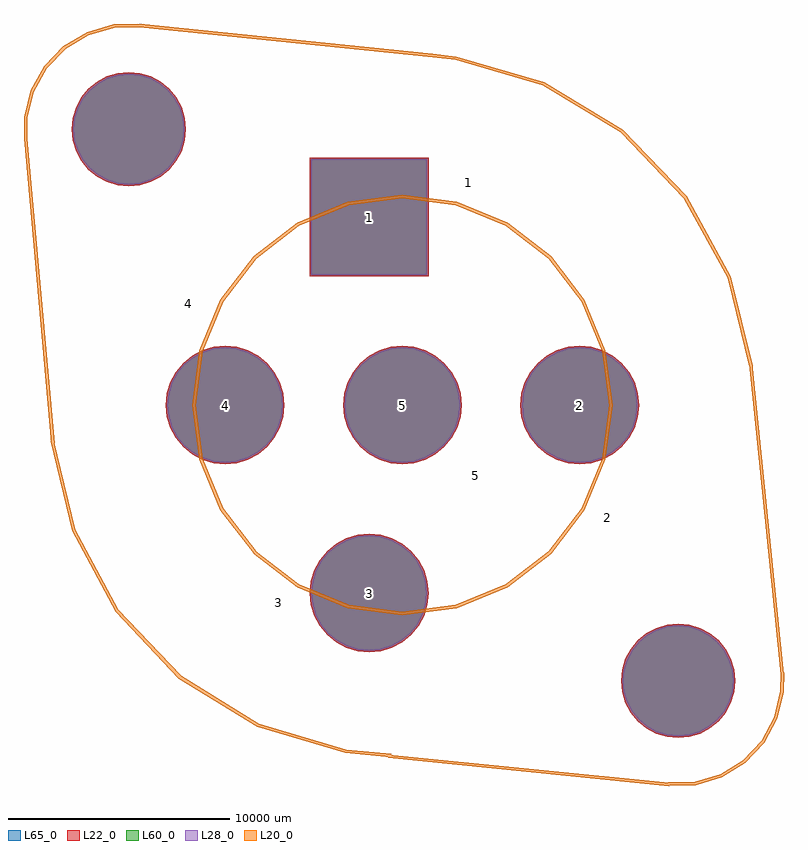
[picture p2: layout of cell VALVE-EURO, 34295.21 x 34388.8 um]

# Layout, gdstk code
import gdstk
lib = gdstk.Library(unit=1e-6, precision=1e-09)
def R(c, l, rs):  # rectangles x0, y0, x1, y1
    for r in rs: c.add(gdstk.rectangle(r[:2], r[2:], *l))
def P(c, l, *ps):  # polygons
    for p in ps: c.add(gdstk.Polygon(p, *l))
L20_0 = (20, 0)
L22_0 = (22, 0)
L28_0 = (28, 0)
L60_0 = (60, 0)
L65_0 = (65, 0)

valve_euro = lib.new_cell('VALVE-EURO')
R(valve_euro, L22_0, [(-4177.1,5805.1,1179.9,11162.1)])
P(valve_euro, L22_0, [(-9768.77,12446),(-9818.26,12948.48),(-9964.828,13431.651),(-10202.842,13876.943),(-10523.155,14267.245),(-10913.457,14587.558),(-11358.749,14825.572),(-11841.92,14972.14),(-12344.4,15021.63),(-12846.88,14972.14),(-13330.051,14825.572),(-13775.343,14587.558),(-14165.645,14267.245),(-14485.958,13876.943),(-14723.972,13431.651),(-14870.54,12948.48),(-14920.03,12446),(-14870.54,11943.52),(-14723.972,11460.349),(-14485.958,11015.057),(-14165.645,10624.755),(-13775.343,10304.442),(-13330.051,10066.428),(-12846.88,9919.86),(-12344.4,9870.37),(-11841.92,9919.86),(-11358.749,10066.428),(-10913.457,10304.442),(-10523.155,10624.755),(-10202.842,11015.057),(-9964.828,11460.349),(-9818.26,11943.52)],
  [(15021.63,-12446),(14972.14,-11943.52),(14825.572,-11460.349),(14587.558,-11015.057),(14267.245,-10624.755),(13876.943,-10304.442),(13431.651,-10066.428),(12948.48,-9919.86),(12446,-9870.37),(11943.52,-9919.86),(11460.349,-10066.428),(11015.057,-10304.442),(10624.755,-10624.755),(10304.442,-11015.057),(10066.428,-11460.349),(9919.86,-11943.52),(9870.37,-12446),(9919.86,-12948.48),(10066.428,-13431.651),(10304.442,-13876.943),(10624.755,-14267.245),(11015.057,-14587.558),(11460.349,-14825.572),(11943.52,-14972.14),(12446,-15021.63),(12948.48,-14972.14),(13431.651,-14825.572),(13876.943,-14587.558),(14267.245,-14267.245),(14587.558,-13876.943),(14825.572,-13431.651),(14972.14,-12948.48)],
  [(2678.5,0),(2627.033,522.549),(2474.611,1025.018),(2227.091,1488.095),(1893.986,1893.986),(1488.095,2227.091),(1025.018,2474.611),(522.549,2627.033),(0,2678.5),(-522.549,2627.033),(-1025.018,2474.611),(-1488.095,2227.091),(-1893.986,1893.986),(-2227.091,1488.095),(-2474.611,1025.018),(-2627.033,522.549),(-2678.5,0),(-2627.033,-522.549),(-2474.611,-1025.018),(-2227.091,-1488.095),(-1893.986,-1893.986),(-1488.095,-2227.091),(-1025.018,-2474.611),(-522.549,-2627.033),(0,-2678.5),(522.549,-2627.033),(1025.018,-2474.611),(1488.095,-2227.091),(1893.986,-1893.986),(2227.091,-1488.095),(2474.611,-1025.018),(2627.033,-522.549)],
  [(-5322.5,0),(-5373.967,522.549),(-5526.389,1025.018),(-5773.909,1488.095),(-6107.014,1893.986),(-6512.905,2227.091),(-6975.982,2474.611),(-7478.451,2627.033),(-8001,2678.5),(-8523.549,2627.033),(-9026.018,2474.611),(-9489.095,2227.091),(-9894.986,1893.986),(-10228.091,1488.095),(-10475.611,1025.018),(-10628.033,522.549),(-10679.5,0),(-10628.033,-522.549),(-10475.611,-1025.018),(-10228.091,-1488.095),(-9894.986,-1893.986),(-9489.095,-2227.091),(-9026.018,-2474.611),(-8523.549,-2627.033),(-8001,-2678.5),(-7478.451,-2627.033),(-6975.982,-2474.611),(-6512.905,-2227.091),(-6107.014,-1893.986),(-5773.909,-1488.095),(-5526.389,-1025.018),(-5373.967,-522.549)],
  [(1179.9,-8483.6),(1128.433,-7961.051),(976.011,-7458.582),(728.491,-6995.505),(395.386,-6589.614),(-10.505,-6256.509),(-473.582,-6008.989),(-976.051,-5856.567),(-1498.6,-5805.1),(-2021.149,-5856.567),(-2523.618,-6008.989),(-2986.695,-6256.509),(-3392.586,-6589.614),(-3725.691,-6995.505),(-3973.211,-7458.582),(-4125.633,-7961.051),(-4177.1,-8483.6),(-4125.633,-9006.149),(-3973.211,-9508.618),(-3725.691,-9971.695),(-3392.586,-10377.586),(-2986.695,-10710.691),(-2523.618,-10958.211),(-2021.149,-11110.633),(-1498.6,-11162.1),(-976.051,-11110.633),(-473.582,-10958.211),(-10.505,-10710.691),(395.386,-10377.586),(728.491,-9971.695),(976.011,-9508.618),(1128.433,-9006.149)],
  [(10679.5,0),(10628.033,522.549),(10475.611,1025.018),(10228.091,1488.095),(9894.986,1893.986),(9489.095,2227.091),(9026.018,2474.611),(8523.549,2627.033),(8001,2678.5),(7478.451,2627.033),(6975.982,2474.611),(6512.905,2227.091),(6107.014,1893.986),(5773.909,1488.095),(5526.389,1025.018),(5373.967,522.549),(5322.5,0),(5373.967,-522.549),(5526.389,-1025.018),(5773.909,-1488.095),(6107.014,-1893.986),(6512.905,-2227.091),(6975.982,-2474.611),(7478.451,-2627.033),(8001,-2678.5),(8523.549,-2627.033),(9026.018,-2474.611),(9489.095,-2227.091),(9894.986,-1893.986),(10228.091,-1488.095),(10475.611,-1025.018),(10628.033,-522.549)])
R(valve_euro, L28_0, [(-4102.1,5880.1,1104.9,11087.1)])
P(valve_euro, L28_0, [(-9843.77,12446),(-9891.819,12933.849),(-10034.119,13402.95),(-10265.202,13835.276),(-10576.188,14214.212),(-10955.124,14525.198),(-11387.45,14756.281),(-11856.551,14898.581),(-12344.4,14946.63),(-12832.249,14898.581),(-13301.35,14756.281),(-13733.676,14525.198),(-14112.612,14214.212),(-14423.598,13835.276),(-14654.681,13402.95),(-14796.981,12933.849),(-14845.03,12446),(-14796.981,11958.151),(-14654.681,11489.05),(-14423.598,11056.724),(-14112.612,10677.788),(-13733.676,10366.802),(-13301.35,10135.719),(-12832.249,9993.419),(-12344.4,9945.37),(-11856.551,9993.419),(-11387.45,10135.719),(-10955.124,10366.802),(-10576.188,10677.788),(-10265.202,11056.724),(-10034.119,11489.05),(-9891.819,11958.151)],
  [(14946.63,-12446),(14898.581,-11958.151),(14756.281,-11489.05),(14525.198,-11056.724),(14214.212,-10677.788),(13835.276,-10366.802),(13402.95,-10135.719),(12933.849,-9993.419),(12446,-9945.37),(11958.151,-9993.419),(11489.05,-10135.719),(11056.724,-10366.802),(10677.788,-10677.788),(10366.802,-11056.724),(10135.719,-11489.05),(9993.419,-11958.151),(9945.37,-12446),(9993.419,-12933.849),(10135.719,-13402.95),(10366.802,-13835.276),(10677.788,-14214.212),(11056.724,-14525.198),(11489.05,-14756.281),(11958.151,-14898.581),(12446,-14946.63),(12933.849,-14898.581),(13402.95,-14756.281),(13835.276,-14525.198),(14214.212,-14214.212),(14525.198,-13835.276),(14756.281,-13402.95),(14898.581,-12933.849)],
  [(2603.5,0),(2553.474,507.918),(2405.32,996.316),(2164.731,1446.427),(1840.953,1840.953),(1446.427,2164.731),(996.316,2405.32),(507.918,2553.474),(0,2603.5),(-507.918,2553.474),(-996.316,2405.32),(-1446.427,2164.731),(-1840.953,1840.953),(-2164.731,1446.427),(-2405.32,996.316),(-2553.474,507.918),(-2603.5,0),(-2553.474,-507.918),(-2405.32,-996.316),(-2164.731,-1446.427),(-1840.953,-1840.953),(-1446.427,-2164.731),(-996.316,-2405.32),(-507.918,-2553.474),(0,-2603.5),(507.918,-2553.474),(996.316,-2405.32),(1446.427,-2164.731),(1840.953,-1840.953),(2164.731,-1446.427),(2405.32,-996.316),(2553.474,-507.918)],
  [(-5397.5,0),(-5447.526,507.918),(-5595.68,996.316),(-5836.269,1446.427),(-6160.047,1840.953),(-6554.573,2164.731),(-7004.684,2405.32),(-7493.082,2553.474),(-8001,2603.5),(-8508.918,2553.474),(-8997.316,2405.32),(-9447.427,2164.731),(-9841.953,1840.953),(-10165.731,1446.427),(-10406.32,996.316),(-10554.474,507.918),(-10604.5,0),(-10554.474,-507.918),(-10406.32,-996.316),(-10165.731,-1446.427),(-9841.953,-1840.953),(-9447.427,-2164.731),(-8997.316,-2405.32),(-8508.918,-2553.474),(-8001,-2603.5),(-7493.082,-2553.474),(-7004.684,-2405.32),(-6554.573,-2164.731),(-6160.047,-1840.953),(-5836.269,-1446.427),(-5595.68,-996.316),(-5447.526,-507.918)],
  [(1104.9,-8483.6),(1054.874,-7975.682),(906.72,-7487.284),(666.131,-7037.173),(342.353,-6642.647),(-52.173,-6318.869),(-502.284,-6078.28),(-990.682,-5930.126),(-1498.6,-5880.1),(-2006.518,-5930.126),(-2494.916,-6078.28),(-2945.027,-6318.869),(-3339.553,-6642.647),(-3663.331,-7037.173),(-3903.92,-7487.284),(-4052.074,-7975.682),(-4102.1,-8483.6),(-4052.074,-8991.518),(-3903.92,-9479.916),(-3663.331,-9930.027),(-3339.553,-10324.553),(-2945.027,-10648.331),(-2494.916,-10888.92),(-2006.518,-11037.074),(-1498.6,-11087.1),(-990.682,-11037.074),(-502.284,-10888.92),(-52.173,-10648.331),(342.353,-10324.553),(666.131,-9930.027),(906.72,-9479.916),(1054.874,-8991.518)],
  [(10604.5,0),(10554.474,507.918),(10406.32,996.316),(10165.731,1446.427),(9841.953,1840.953),(9447.427,2164.731),(8997.316,2405.32),(8508.918,2553.474),(8001,2603.5),(7493.082,2553.474),(7004.684,2405.32),(6554.573,2164.731),(6160.047,1840.953),(5836.269,1446.427),(5595.68,996.316),(5447.526,507.918),(5397.5,0),(5447.526,-507.918),(5595.68,-996.316),(5836.269,-1446.427),(6160.047,-1840.953),(6554.573,-2164.731),(7004.684,-2405.32),(7493.082,-2553.474),(8001,-2603.5),(8508.918,-2553.474),(8997.316,-2405.32),(9447.427,-2164.731),(9841.953,-1840.953),(10165.731,-1446.427),(10406.32,-996.316),(10554.474,-507.918)])
R(valve_euro, L60_0, [(-4102.1,5880.1,1104.9,11087.1)])
P(valve_euro, L60_0, [(-9843.77,12446),(-9891.819,12933.849),(-10034.119,13402.95),(-10265.202,13835.276),(-10576.188,14214.212),(-10955.124,14525.198),(-11387.45,14756.281),(-11856.551,14898.581),(-12344.4,14946.63),(-12832.249,14898.581),(-13301.35,14756.281),(-13733.676,14525.198),(-14112.612,14214.212),(-14423.598,13835.276),(-14654.681,13402.95),(-14796.981,12933.849),(-14845.03,12446),(-14796.981,11958.151),(-14654.681,11489.05),(-14423.598,11056.724),(-14112.612,10677.788),(-13733.676,10366.802),(-13301.35,10135.719),(-12832.249,9993.419),(-12344.4,9945.37),(-11856.551,9993.419),(-11387.45,10135.719),(-10955.124,10366.802),(-10576.188,10677.788),(-10265.202,11056.724),(-10034.119,11489.05),(-9891.819,11958.151)],
  [(14946.63,-12446),(14898.581,-11958.151),(14756.281,-11489.05),(14525.198,-11056.724),(14214.212,-10677.788),(13835.276,-10366.802),(13402.95,-10135.719),(12933.849,-9993.419),(12446,-9945.37),(11958.151,-9993.419),(11489.05,-10135.719),(11056.724,-10366.802),(10677.788,-10677.788),(10366.802,-11056.724),(10135.719,-11489.05),(9993.419,-11958.151),(9945.37,-12446),(9993.419,-12933.849),(10135.719,-13402.95),(10366.802,-13835.276),(10677.788,-14214.212),(11056.724,-14525.198),(11489.05,-14756.281),(11958.151,-14898.581),(12446,-14946.63),(12933.849,-14898.581),(13402.95,-14756.281),(13835.276,-14525.198),(14214.212,-14214.212),(14525.198,-13835.276),(14756.281,-13402.95),(14898.581,-12933.849)],
  [(2603.5,0),(2553.474,507.918),(2405.32,996.316),(2164.731,1446.427),(1840.953,1840.953),(1446.427,2164.731),(996.316,2405.32),(507.918,2553.474),(0,2603.5),(-507.918,2553.474),(-996.316,2405.32),(-1446.427,2164.731),(-1840.953,1840.953),(-2164.731,1446.427),(-2405.32,996.316),(-2553.474,507.918),(-2603.5,0),(-2553.474,-507.918),(-2405.32,-996.316),(-2164.731,-1446.427),(-1840.953,-1840.953),(-1446.427,-2164.731),(-996.316,-2405.32),(-507.918,-2553.474),(0,-2603.5),(507.918,-2553.474),(996.316,-2405.32),(1446.427,-2164.731),(1840.953,-1840.953),(2164.731,-1446.427),(2405.32,-996.316),(2553.474,-507.918)],
  [(-5397.5,0),(-5447.526,507.918),(-5595.68,996.316),(-5836.269,1446.427),(-6160.047,1840.953),(-6554.573,2164.731),(-7004.684,2405.32),(-7493.082,2553.474),(-8001,2603.5),(-8508.918,2553.474),(-8997.316,2405.32),(-9447.427,2164.731),(-9841.953,1840.953),(-10165.731,1446.427),(-10406.32,996.316),(-10554.474,507.918),(-10604.5,0),(-10554.474,-507.918),(-10406.32,-996.316),(-10165.731,-1446.427),(-9841.953,-1840.953),(-9447.427,-2164.731),(-8997.316,-2405.32),(-8508.918,-2553.474),(-8001,-2603.5),(-7493.082,-2553.474),(-7004.684,-2405.32),(-6554.573,-2164.731),(-6160.047,-1840.953),(-5836.269,-1446.427),(-5595.68,-996.316),(-5447.526,-507.918)],
  [(1104.9,-8483.6),(1054.874,-7975.682),(906.72,-7487.284),(666.131,-7037.173),(342.353,-6642.647),(-52.173,-6318.869),(-502.284,-6078.28),(-990.682,-5930.126),(-1498.6,-5880.1),(-2006.518,-5930.126),(-2494.916,-6078.28),(-2945.027,-6318.869),(-3339.553,-6642.647),(-3663.331,-7037.173),(-3903.92,-7487.284),(-4052.074,-7975.682),(-4102.1,-8483.6),(-4052.074,-8991.518),(-3903.92,-9479.916),(-3663.331,-9930.027),(-3339.553,-10324.553),(-2945.027,-10648.331),(-2494.916,-10888.92),(-2006.518,-11037.074),(-1498.6,-11087.1),(-990.682,-11037.074),(-502.284,-10888.92),(-52.173,-10648.331),(342.353,-10324.553),(666.131,-9930.027),(906.72,-9479.916),(1054.874,-8991.518)],
  [(10604.5,0),(10554.474,507.918),(10406.32,996.316),(10165.731,1446.427),(9841.953,1840.953),(9447.427,2164.731),(8997.316,2405.32),(8508.918,2553.474),(8001,2603.5),(7493.082,2553.474),(7004.684,2405.32),(6554.573,2164.731),(6160.047,1840.953),(5836.269,1446.427),(5595.68,996.316),(5447.526,507.918),(5397.5,0),(5447.526,-507.918),(5595.68,-996.316),(5836.269,-1446.427),(6160.047,-1840.953),(6554.573,-2164.731),(7004.684,-2405.32),(7493.082,-2553.474),(8001,-2603.5),(8508.918,-2553.474),(8997.316,-2405.32),(9447.427,-2164.731),(9841.953,-1840.953),(10165.731,-1446.427),(10406.32,-996.316),(10554.474,-507.918)])
R(valve_euro, L65_0, [(-4177.1,5805.1,1179.9,11162.1)])
P(valve_euro, L65_0, [(-9768.77,12446),(-9818.26,12948.48),(-9964.828,13431.651),(-10202.842,13876.943),(-10523.155,14267.245),(-10913.457,14587.558),(-11358.749,14825.572),(-11841.92,14972.14),(-12344.4,15021.63),(-12846.88,14972.14),(-13330.051,14825.572),(-13775.343,14587.558),(-14165.645,14267.245),(-14485.958,13876.943),(-14723.972,13431.651),(-14870.54,12948.48),(-14920.03,12446),(-14870.54,11943.52),(-14723.972,11460.349),(-14485.958,11015.057),(-14165.645,10624.755),(-13775.343,10304.442),(-13330.051,10066.428),(-12846.88,9919.86),(-12344.4,9870.37),(-11841.92,9919.86),(-11358.749,10066.428),(-10913.457,10304.442),(-10523.155,10624.755),(-10202.842,11015.057),(-9964.828,11460.349),(-9818.26,11943.52)],
  [(15021.63,-12446),(14972.14,-11943.52),(14825.572,-11460.349),(14587.558,-11015.057),(14267.245,-10624.755),(13876.943,-10304.442),(13431.651,-10066.428),(12948.48,-9919.86),(12446,-9870.37),(11943.52,-9919.86),(11460.349,-10066.428),(11015.057,-10304.442),(10624.755,-10624.755),(10304.442,-11015.057),(10066.428,-11460.349),(9919.86,-11943.52),(9870.37,-12446),(9919.86,-12948.48),(10066.428,-13431.651),(10304.442,-13876.943),(10624.755,-14267.245),(11015.057,-14587.558),(11460.349,-14825.572),(11943.52,-14972.14),(12446,-15021.63),(12948.48,-14972.14),(13431.651,-14825.572),(13876.943,-14587.558),(14267.245,-14267.245),(14587.558,-13876.943),(14825.572,-13431.651),(14972.14,-12948.48)],
  [(2678.5,0),(2627.033,522.549),(2474.611,1025.018),(2227.091,1488.095),(1893.986,1893.986),(1488.095,2227.091),(1025.018,2474.611),(522.549,2627.033),(0,2678.5),(-522.549,2627.033),(-1025.018,2474.611),(-1488.095,2227.091),(-1893.986,1893.986),(-2227.091,1488.095),(-2474.611,1025.018),(-2627.033,522.549),(-2678.5,0),(-2627.033,-522.549),(-2474.611,-1025.018),(-2227.091,-1488.095),(-1893.986,-1893.986),(-1488.095,-2227.091),(-1025.018,-2474.611),(-522.549,-2627.033),(0,-2678.5),(522.549,-2627.033),(1025.018,-2474.611),(1488.095,-2227.091),(1893.986,-1893.986),(2227.091,-1488.095),(2474.611,-1025.018),(2627.033,-522.549)],
  [(-5322.5,0),(-5373.967,522.549),(-5526.389,1025.018),(-5773.909,1488.095),(-6107.014,1893.986),(-6512.905,2227.091),(-6975.982,2474.611),(-7478.451,2627.033),(-8001,2678.5),(-8523.549,2627.033),(-9026.018,2474.611),(-9489.095,2227.091),(-9894.986,1893.986),(-10228.091,1488.095),(-10475.611,1025.018),(-10628.033,522.549),(-10679.5,0),(-10628.033,-522.549),(-10475.611,-1025.018),(-10228.091,-1488.095),(-9894.986,-1893.986),(-9489.095,-2227.091),(-9026.018,-2474.611),(-8523.549,-2627.033),(-8001,-2678.5),(-7478.451,-2627.033),(-6975.982,-2474.611),(-6512.905,-2227.091),(-6107.014,-1893.986),(-5773.909,-1488.095),(-5526.389,-1025.018),(-5373.967,-522.549)],
  [(1179.9,-8483.6),(1128.433,-7961.051),(976.011,-7458.582),(728.491,-6995.505),(395.386,-6589.614),(-10.505,-6256.509),(-473.582,-6008.989),(-976.051,-5856.567),(-1498.6,-5805.1),(-2021.149,-5856.567),(-2523.618,-6008.989),(-2986.695,-6256.509),(-3392.586,-6589.614),(-3725.691,-6995.505),(-3973.211,-7458.582),(-4125.633,-7961.051),(-4177.1,-8483.6),(-4125.633,-9006.149),(-3973.211,-9508.618),(-3725.691,-9971.695),(-3392.586,-10377.586),(-2986.695,-10710.691),(-2523.618,-10958.211),(-2021.149,-11110.633),(-1498.6,-11162.1),(-976.051,-11110.633),(-473.582,-10958.211),(-10.505,-10710.691),(395.386,-10377.586),(728.491,-9971.695),(976.011,-9508.618),(1128.433,-9006.149)],
  [(10679.5,0),(10628.033,522.549),(10475.611,1025.018),(10228.091,1488.095),(9894.986,1893.986),(9489.095,2227.091),(9026.018,2474.611),(8523.549,2627.033),(8001,2678.5),(7478.451,2627.033),(6975.982,2474.611),(6512.905,2227.091),(6107.014,1893.986),(5773.909,1488.095),(5526.389,1025.018),(5373.967,522.549),(5322.5,0),(5373.967,-522.549),(5526.389,-1025.018),(5773.909,-1488.095),(6107.014,-1893.986),(6512.905,-2227.091),(6975.982,-2474.611),(7478.451,-2627.033),(8001,-2678.5),(8523.549,-2627.033),(9026.018,-2474.611),(9489.095,-2227.091),(9894.986,-1893.986),(10228.091,-1488.095),(10475.611,-1025.018),(10628.033,-522.549)])
valve_euro.add(gdstk.FlexPath([(-15795.622,-1626.743),(-14838.098,-5646.373),(-12872.845,-9281.212),(-10033.79,-12283.552),(-6514.41,-14448.788),(-2554.547,-15629.363),(-520.7,-15821.66)], 149.998, ends="flush", simple_path=True, layer=20, datatype=0))  # L20_0
valve_euro.add(gdstk.FlexPath([(15734.96,1763.64),(14749.78,5770.344),(12761.158,9385.54),(9904.615,12362.858),(6374.82,14499.398),(2412.322,15649.559),(1371.6,15773.4)], 149.998, ends="flush", simple_path=True, layer=20, datatype=0))  # L20_0
valve_euro.add(gdstk.FlexPath([(11993.757,-17108.707),(13216.83,-17073.452),(14389.103,-16722.844),(15430.687,-16080.777),(16270.602,-15191.005),(16851.607,-14114.165),(17134.108,-12923.643),(17145,-12090.4)], 149.998, ends="flush", simple_path=True, layer=20, datatype=0))  # L20_0
valve_euro.add(gdstk.FlexPath([(-11787.256,17119.588),(-13014.988,17097.965),(-14195.29,16759.318),(-15247.726,16126.726),(-16100.574,15243.298),(-16695.714,14169.239),(-16992.588,12977.744),(-17000.22,11986.26)], 149.998, ends="flush", simple_path=True, layer=20, datatype=0))  # L20_0
valve_euro.add(gdstk.FlexPath([(-15795.622,-1626.743),(-14838.098,-5646.373),(-12872.845,-9281.212),(-10033.79,-12283.552),(-6514.41,-14448.788),(-2554.547,-15629.363),(-520.7,-15821.66)], 149.998, ends="flush", simple_path=True, layer=20, datatype=0))  # L20_0
valve_euro.add(gdstk.FlexPath([(15734.96,1763.64),(14749.78,5770.344),(12761.158,9385.54),(9904.615,12362.858),(6374.82,14499.398),(2412.322,15649.559),(1371.6,15773.4)], 149.998, ends="flush", simple_path=True, layer=20, datatype=0))  # L20_0
valve_euro.add(gdstk.FlexPath([(11993.757,-17108.707),(13216.83,-17073.452),(14389.103,-16722.844),(15430.687,-16080.777),(16270.602,-15191.005),(16851.607,-14114.165),(17134.108,-12923.643),(17145,-12090.4)], 149.998, ends="flush", simple_path=True, layer=20, datatype=0))  # L20_0
valve_euro.add(gdstk.FlexPath([(-11787.256,17119.588),(-13014.988,17097.965),(-14195.29,16759.318),(-15247.726,16126.726),(-16100.574,15243.298),(-16695.714,14169.239),(-16992.588,12977.744),(-17000.22,11986.26)], 149.998, ends="flush", simple_path=True, layer=20, datatype=0))  # L20_0
valve_euro.add(gdstk.FlexPath([(-6654.8,-6654.8),(-4705.654,-8150.432),(-2435.826,-9090.626),(0,-9411.308),(2435.826,-9090.626),(4705.654,-8150.432),(6654.8,-6654.8),(8150.432,-4705.654),(9090.626,-2435.826),(9411.308,0),(9090.626,2435.826),(8150.432,4705.654),(6654.8,6654.8),(4705.654,8150.432),(2435.826,9090.626),(0,9411.308),(-2435.826,9090.626),(-4705.654,8150.432),(-6654.8,6654.8),(-8150.432,4705.654),(-9090.626,2435.826),(-9411.308,0),(-9090.626,-2435.826),(-8150.432,-4705.654),(-6654.8,-6654.8)], 149.998, ends="flush", simple_path=True, layer=20, datatype=0))  # L20_0
valve_euro.add(gdstk.FlexPath([(-15773.4,-1727.2),(-16992.6,12014.2)], 149.998, ends="flush", simple_path=True, layer=20, datatype=0))  # L20_0
valve_euro.add(gdstk.FlexPath([(12039.6,-17119.6),(-635,-15849.6)], 149.998, ends="flush", simple_path=True, layer=20, datatype=0))  # L20_0
valve_euro.add(gdstk.FlexPath([(17145,-12141.2),(15722.6,1854.2)], 149.998, ends="flush", simple_path=True, layer=20, datatype=0))  # L20_0
valve_euro.add(gdstk.FlexPath([(-11861.8,17119.6),(1371.6,15773.4)], 149.998, ends="flush", simple_path=True, layer=20, datatype=0))  # L20_0
valve_euro.add(gdstk.FlexPath([(-15773.4,-1727.2),(-16992.6,12014.2)], 149.998, ends="flush", simple_path=True, layer=20, datatype=0))  # L20_0
valve_euro.add(gdstk.FlexPath([(12039.6,-17119.6),(-635,-15849.6)], 149.998, ends="flush", simple_path=True, layer=20, datatype=0))  # L20_0
valve_euro.add(gdstk.FlexPath([(17145,-12141.2),(15722.6,1854.2)], 149.998, ends="flush", simple_path=True, layer=20, datatype=0))  # L20_0
valve_euro.add(gdstk.FlexPath([(-11861.8,17119.6),(1371.6,15773.4)], 149.998, ends="flush", simple_path=True, layer=20, datatype=0))  # L20_0
valve_euro.add(gdstk.Label('5', (0,0), layer=28, texttype=0))
valve_euro.add(gdstk.Label('4', (-8001,0), layer=28, texttype=0))
valve_euro.add(gdstk.Label('3', (-1498.6,-8483.6), layer=28, texttype=0))
valve_euro.add(gdstk.Label('2', (8001,0), layer=28, texttype=0))
valve_euro.add(gdstk.Label('1', (-1498.6,8483.6), layer=28, texttype=0))
valve_euro.add(gdstk.Label('5', (3302,-3175), layer=9, texttype=0))
valve_euro.add(gdstk.Label('4', (-9652,4572), layer=9, texttype=0))
valve_euro.add(gdstk.Label('3', (-5588,-8890), layer=9, texttype=0))
valve_euro.add(gdstk.Label('2', (9245.6,-5080), layer=9, texttype=0))
valve_euro.add(gdstk.Label('1', (2997.2,10058.4), layer=9, texttype=0))
valve_euro.add(gdstk.Label('type', (762,-18288), layer=9, texttype=0))
valve_euro.add(gdstk.Label('devicename', (-5080,18542), layer=9, texttype=0))

lib.write_gds('VALVE-EURO.gds')
